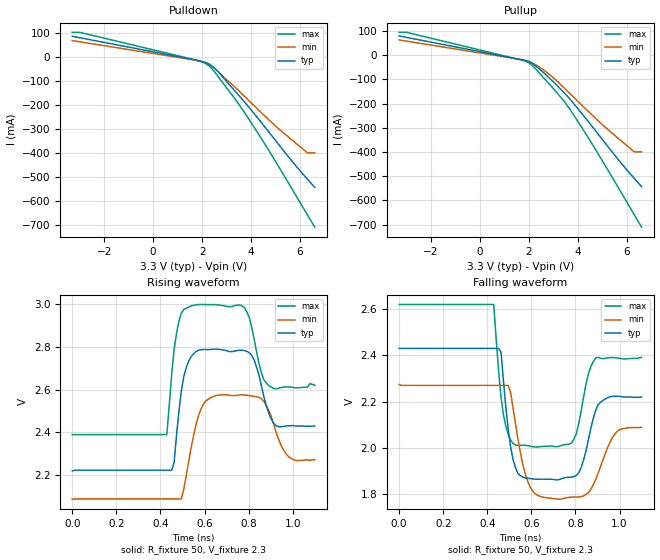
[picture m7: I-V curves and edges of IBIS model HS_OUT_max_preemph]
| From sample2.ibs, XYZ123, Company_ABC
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|   Model HS_OUT_max_preemph
[Model]   HS_OUT_max_preemph
Model_type   Output_ECL
Polarity   Non-Inverting
Vmeas   = 2.35V
Cref   = 0pF
Vref   = 2.3V
Rref   = 50ohms
C_comp   1.6pF   1.6pF   1.6pF
[Temperature Range]   50   0   125
[Voltage Range]   3.3V   3.135V   3.465V
[Pullup Reference]   3.3V   3.0V   3.6V
[Pulldown Reference]   3.3V   3.0V   3.6V
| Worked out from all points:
|   rising waveform, R_fixture 50, V_fixture 2.3: 20-80 % time 10.9ps typ, 20.1ps min, 10.8ps max; typ from 2.22 V to 2.43 V
|   falling waveform, R_fixture 50, V_fixture 2.3: 20-80 % time 11.4ps typ, 18.1ps min, 10.4ps max; typ from 2.43 V to 2.22 V
[Pulldown]
| voltage   I(typ)   I(min)   I(max)
-3.3V     87.46mA    69.44mA    104mA
-3V       81.6mA     64.56mA    104mA
1.7V      -10.7mA    -12mA      -10.49mA
2.1V      -20.95mA   -21.2mA    -23.89mA
2.3V      -29.53mA   -29.93mA   -37.46mA
2.5V      -44.32mA   -45.9mA    -59.71mA
2.7V      -65.11mA   -64.63mA   -86.76mA
3.4V      -147.6mA   -130.5mA   -181.9mA
4V        -219.6mA   -190mA     -272.7mA
5V        -347.9mA   -287.2mA   -435.3mA
6.3V      -509.1mA   -399.3mA   -658.4mA
6.6V      -543.1mA   -399.3mA   -709.6mA
[Pullup]
| voltage   I(typ)   I(min)   I(max)
-3.3V     79.06mA    62.58mA    94.1mA
-3V       73.22mA    57.7mA     94.1mA
1.7V      -19.05mA   -18.6mA    -20.43mA
1.9V      -23.87mA   -22.62mA   -26.94mA
2.1V      -32.49mA   -30.43mA   -39.11mA
2.8V      -91.25mA   -76.93mA   -116.2mA
3.4V      -151.6mA   -132mA     -186.2mA
3.7V      -184.9mA   -161.6mA   -228.2mA
4.8V      -322.8mA   -268.6mA   -403.2mA
5.7V      -437.8mA   -348.1mA   -556.1mA
6.3V      -509.2mA   -399.3mA   -659.2mA
6.6V      -543.1mA   -399.3mA   -710.3mA
| variable   typ   min   max
[Ramp]
dV/dt_r  0.06054V/0.00543132ns  0.05544V/0.00937199ns  0.06516V/0.0049459ns
dV/dt_f  0.06618V/0.00622684ns  0.05604V/0.00913244ns  0.06948V/0.00546282ns
R_load   = 50
[Rising Waveform]
R_fixture   = 50
V_fixture   = 2.3
V_fixture_min   = 2.135
V_fixture_max   = 2.465
|  time   V(typ)   V(min)   V(max)
0s        2.22V      2.088V     2.39V
429ps     2.224V     2.09V      2.39V
462ps     2.26V      2.09V      2.787V
484ps     2.502V     2.09V      2.92V
550ps     2.767V     2.385V     2.993V
616ps     2.787V     2.555V     2.996V
781ps     2.782V     2.575V     2.983V
836ps     2.705V     2.566V     2.777V
924ps     2.431V     2.404V     2.603V
1.1ns     2.43V      2.273V     2.62V
[Falling Waveform]
R_fixture   = 50
V_fixture   = 2.3
V_fixture_min   = 2.135
V_fixture_max   = 2.465
|  time   V(typ)   V(min)   V(max)
0s        2.43V      2.273V     2.62V
429ps     2.43V      2.27V      2.62V
473ps     2.291V     2.27V      2.143V
528ps     1.913V     2.102V     2.011V
594ps     1.867V     1.831V     2.007V
726ps     1.862V     1.777V     2.006V
814ps     1.891V     1.787V     2.101V
891ps     2.16V      1.861V     2.389V
990ps     2.223V     2.072V     2.388V
1.1ns     2.22V      2.088V     2.391V
